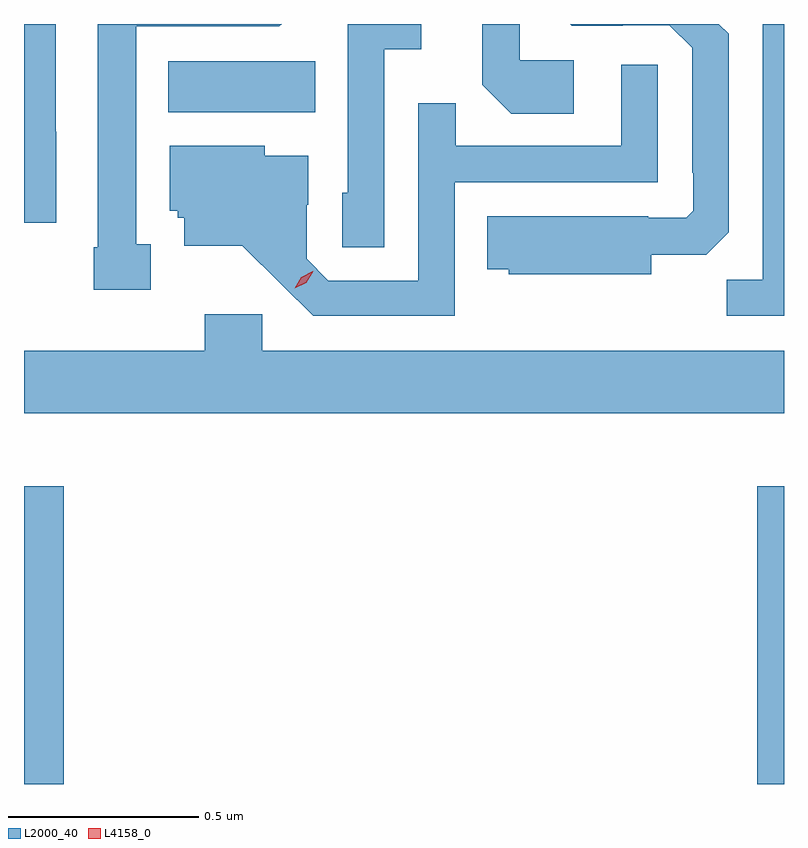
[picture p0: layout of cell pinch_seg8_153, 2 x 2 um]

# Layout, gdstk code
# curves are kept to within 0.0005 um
import gdstk
lib = gdstk.Library(unit=1e-6, precision=1e-09)
def R(c, l, rs):  # rectangles x0, y0, x1, y1
    for r in rs: c.add(gdstk.rectangle(r[:2], r[2:], *l))
def P(c, l, *ps):  # polygons
    for p in ps: c.add(gdstk.Polygon(p, *l))
L2000_40 = (2000, 40)
L4158_0 = (4158, 0)

pinch_seg8_153 = lib.new_cell('pinch_seg8_153')
R(pinch_seg8_153, L2000_40, [(709.083,1147.492,709.187,1148.275), (711.013,1147.492,711.083,1148.275), (709.463,1149.26,709.85,1149.394)])
P(pinch_seg8_153, L2000_40, [(709.168,1149.209),(709.167,1149.209),(709.167,1149.492),(709.083,1149.492),(709.083,1148.969),(709.168,1148.969)],
  [(711.083,1149.492),(711.027,1149.492),(711.027,1148.819),(710.932,1148.819),(710.932,1148.724),(711.083,1148.724)],
  [(710.031,1149.425),(710.128,1149.425),(710.128,1149.492),(709.935,1149.492),(709.935,1149.048),(709.92,1149.048),(709.92,1148.905),(710.031,1148.905)],
  [(710.734,1148.885),(710.878,1148.885),(710.937,1148.944),(710.937,1149.466),(710.911,1149.492),(710.52,1149.492),(710.524,1149.488),(710.658,1149.488),(710.658,1149.489),(710.781,1149.489),(710.841,1149.429),(710.841,1149.1),(710.844,1149.1),(710.844,1149),(710.826,1148.982),(710.726,1148.982),(710.726,1148.986),(710.302,1148.986),(710.302,1148.846),(710.358,1148.846),(710.358,1148.834),(710.734,1148.834)],
  [(709.417,1148.913),(709.378,1148.913),(709.378,1149.486),(709.755,1149.486),(709.761,1149.492),(709.277,1149.492),(709.277,1148.905),(709.267,1148.905),(709.267,1148.793),(709.417,1148.793)],
  [(710.53,1149.396),(710.388,1149.396),(710.388,1149.492),(710.289,1149.492),(710.289,1149.332),(710.365,1149.256),(710.53,1149.256)],
  [(710.217,1149.075),(710.751,1149.075),(710.751,1149.385),(710.655,1149.385),(710.655,1149.171),(710.219,1149.171),(710.219,1149.284),(710.121,1149.284),(710.121,1148.817),(709.884,1148.817),(709.827,1148.874),(709.827,1149.016),(709.831,1149.016),(709.831,1149.145),(709.716,1149.145),(709.716,1149.172),(709.466,1149.172),(709.466,1149),(709.488,1149),(709.488,1148.982),(709.505,1148.982),(709.505,1148.909),(709.657,1148.909),(709.844,1148.724),(710.217,1148.724)],
  [(711.083,1148.632),(709.71,1148.632),(709.71,1148.728),(709.559,1148.728),(709.559,1148.632),(709.083,1148.632),(709.083,1148.468),(711.083,1148.468)])
P(pinch_seg8_153, L4158_0, [(709.795,1148.797),(709.795,1148.797),(709.812,1148.826),(709.843,1148.841),(709.844,1148.841),(709.844,1148.841),(709.826,1148.811),(709.795,1148.797)])

lib.write_gds('pinch_seg8_153.gds')
